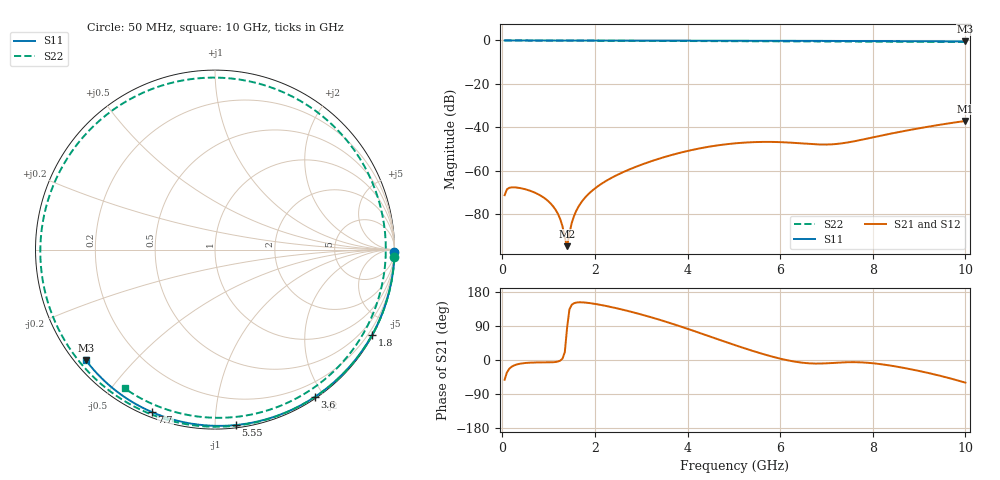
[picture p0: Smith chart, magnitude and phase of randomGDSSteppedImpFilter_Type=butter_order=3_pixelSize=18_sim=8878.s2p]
! freq	dB(S11)	phase(S11)	dB(S12)	phase(S12)
!  dB(S21)	phase(S21)	dB(S22)	phase(S22)
!S-par simulation data
#  GHz  S  DB  R 50
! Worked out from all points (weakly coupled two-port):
!   200 points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, 50 MHz to 10 GHz, reference 50 ohm
!   highest |S21| = -37.05 dB at 10 GHz (marker M1); lowest = -94.6 dB at 1.4 GHz (marker M2)
!   lowest |S11| = -0.5 dB at 10 GHz (marker M3), VSWR 36.87, Z = 1.54 - j18.5 ohm
!   |S11| at or under -10 dB: nowhere
!   |S22| runs from -0.7 to 0.0 dB; largest |S21 - S12| = 0
!   S11 on the Smith chart (normalised r, x): 50 MHz: open; 1.8 GHz: 0.03, -3.93; 3.6 GHz: 0.02, -1.89; 5.55 GHz: 0.02, -1.12; 7.7 GHz: 0.02, -0.68; 10 GHz: 0.03, -0.37
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0.05  -0.00 -0.8  -71.19 -52.1  -71.19 -52.1  -0.00 -2.4
0.15  -0.00 -2.4  -67.80 -23.3  -67.80 -23.3  -0.00 -7.2
0.55  -0.01 -8.9  -68.79 -7.4  -68.79 -7.4  -0.02 -26.2
0.95  -0.02 -15.2  -73.18 -6.4  -73.18 -6.4  -0.05 -45.0
1.2  -0.02 -19.2  -79.72 -4.1  -79.72 -4.1  -0.07 -56.6
1.4  -0.03 -22.3  -94.65 86.1  -94.65 86.1  -0.08 -65.7
1.55  -0.03 -24.7  -80.69 149.9  -80.69 149.9  -0.09 -72.5
1.75  -0.04 -27.8  -73.25 152.0  -73.25 152.0  -0.10 -81.6
1.8  -0.04 -28.6  -72.00 151.4  -72.00 151.4  -0.11 -83.8
2.55  -0.05 -40.1  -61.17 134.3  -61.17 134.3  -0.15 -117.3
3.4  -0.07 -52.9  -54.30 106.0  -54.30 106.0  -0.20 -155.5
3.6  -0.08 -55.8  -53.04 98.4  -53.04 98.4  -0.21 -164.8
4.35  -0.10 -66.6  -49.30 67.7  -49.30 67.7  -0.27 158.4
5.05  -0.12 -76.4  -47.29 38.2  -47.29 38.2  -0.33 120.3
5.55  -0.14 -83.3  -46.70 18.7  -46.70 18.7  -0.37 90.8
6.1  -0.16 -90.6  -46.87 0.8  -46.87 0.8  -0.40 56.9
6.7  -0.19 -98.5  -47.72 -9.2  -47.72 -9.2  -0.42 20.3
7.15  -0.22 -104.2  -47.74 -7.7  -47.74 -7.7  -0.43 -5.4
7.7  -0.25 -111.2  -45.96 -6.0  -45.96 -6.0  -0.45 -34.0
8.35  -0.31 -119.3  -43.04 -14.1  -43.04 -14.1  -0.50 -63.5
9.1  -0.37 -128.5  -40.04 -31.5  -40.04 -31.5  -0.57 -92.6
10  -0.47 -139.5  -37.05 -59.8  -37.05 -59.8  -0.70 -123.1
